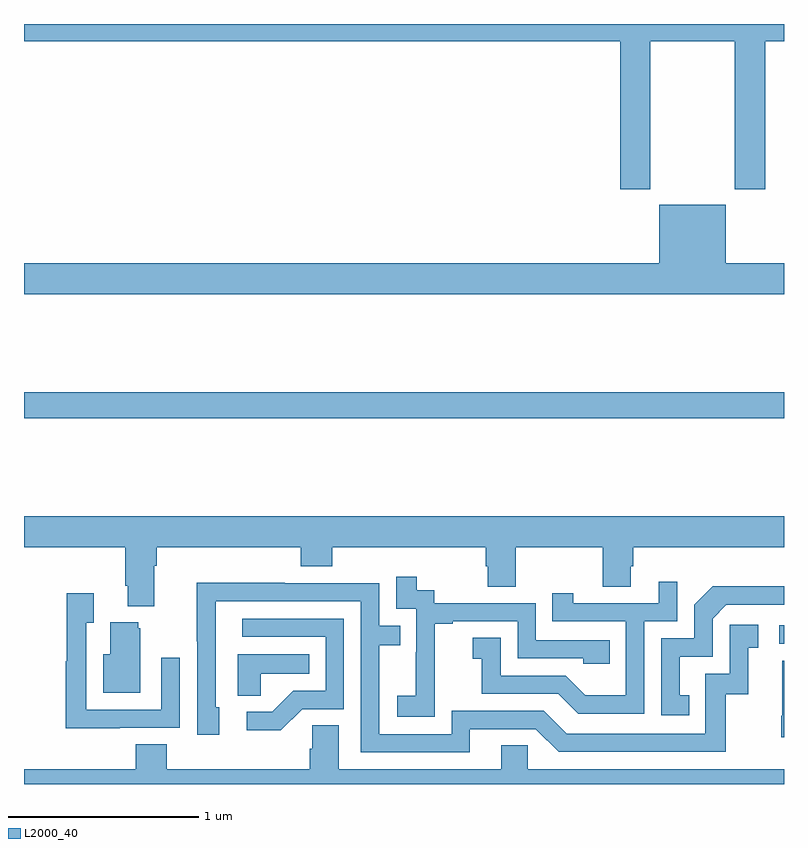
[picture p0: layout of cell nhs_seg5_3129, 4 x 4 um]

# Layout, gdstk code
import gdstk
lib = gdstk.Library(unit=1e-6, precision=1e-09)
def R(c, l, rs):  # rectangles x0, y0, x1, y1
    for r in rs: c.add(gdstk.rectangle(r[:2], r[2:], *l))
def P(c, l, *ps):  # polygons
    for p in ps: c.add(gdstk.Polygon(p, *l))
L2000_40 = (2000, 40)

nhs_seg5_3129 = lib.new_cell('nhs_seg5_3129')
R(nhs_seg5_3129, L2000_40, [(294.975,905.538,295,905.634), (291,906.724,295,906.86)])
P(nhs_seg5_3129, L2000_40, [(294.297,908.708),(294.742,908.708),(294.742,907.929),(294.902,907.929),(294.902,908.708),(295,908.708),(295,908.799),(291,908.799),(291,908.708),(294.137,908.708),(294.137,907.929),(294.297,907.929)],
  [(295,907.54),(294.694,907.54),(294.694,907.849),(294.344,907.849),(294.344,907.54),(291,907.54),(291,907.376),(295,907.376)],
  [(291,906.044),(291.533,906.044),(291.533,905.842),(291.545,905.842),(291.545,905.735),(291.685,905.735),(291.685,905.948),(291.698,905.948),(291.698,906.044),(292.457,906.044),(292.457,905.945),(292.622,905.945),(292.622,906.044),(293.429,906.044),(293.429,905.946),(293.441,905.946),(293.441,905.836),(293.589,905.836),(293.589,906.044),(294.046,906.044),(294.046,905.836),(294.193,905.836),(294.193,905.946),(294.206,905.946),(294.206,906.044),(295,906.044),(295,906.208),(291,906.208)],
  [(293.163,905.359),(293.162,905.359),(293.162,905.643),(293.257,905.643),(293.257,905.655),(293.598,905.655),(293.598,905.46),(293.943,905.46),(293.943,905.433),(294.083,905.433),(294.083,905.556),(293.694,905.556),(293.694,905.751),(293.16,905.751),(293.16,905.82),(293.068,905.82),(293.068,905.89),(292.959,905.89),(292.959,905.721),(293.064,905.721),(293.064,905.492),(293.063,905.492),(293.063,905.263),(292.965,905.263),(292.965,905.153),(293.163,905.153)],
  [(294.264,905.655),(294.438,905.655),(294.438,905.863),(294.341,905.863),(294.341,905.751),(293.89,905.751),(293.89,905.803),(293.779,905.803),(293.779,905.655),(294.168,905.655),(294.168,905.266),(293.954,905.266),(293.85,905.37),(293.508,905.37),(293.508,905.569),(293.361,905.569),(293.361,905.459),(293.41,905.459),(293.41,905.274),(293.813,905.274),(293.918,905.169),(294.264,905.169)],
  [(293.347,905.088),(293.694,905.088),(293.814,904.968),(294.694,904.968),(294.694,905.271),(294.812,905.271),(294.812,905.517),(294.865,905.517),(294.865,905.638),(294.714,905.638),(294.714,905.379),(294.585,905.379),(294.585,905.064),(293.856,905.064),(293.736,905.184),(293.25,905.184),(293.25,905.061),(292.869,905.061),(292.869,905.53),(292.979,905.53),(292.979,905.631),(292.869,905.631),(292.869,905.856),(292.373,905.856),(292.373,905.858),(291.91,905.858),(291.91,905.551),(291.912,905.551),(291.912,905.058),(292.027,905.058),(292.027,905.202),(292.008,905.202),(292.008,905.76),(292.773,905.76),(292.773,904.965),(293.347,904.965)],
  [(294.5,905.265),(294.451,905.265),(294.451,905.469),(294.624,905.469),(294.624,905.67),(294.696,905.742),(295,905.742),(295,905.84),(294.626,905.84),(294.528,905.742),(294.528,905.565),(294.354,905.565),(294.354,905.16),(294.5,905.16)],
  [(291.503,905.094),(291.819,905.094),(291.819,905.464),(291.723,905.464),(291.723,905.19),(291.327,905.19),(291.327,905.647),(291.367,905.647),(291.367,905.803),(291.226,905.803),(291.226,905.444),(291.219,905.444),(291.219,905.093),(291.503,905.093)],
  [(292.464,905.193),(292.683,905.193),(292.683,905.67),(292.149,905.67),(292.149,905.574),(292.587,905.574),(292.587,905.289),(292.418,905.289),(292.307,905.178),(292.173,905.178),(292.173,905.081),(292.351,905.081)],
  [(291.613,905.619),(291.602,905.619),(291.602,905.65),(291.455,905.65),(291.455,905.482),(291.416,905.482),(291.416,905.279),(291.613,905.279)],
  [(292.245,905.378),(292.502,905.378),(292.502,905.482),(292.124,905.482),(292.124,905.263),(292.245,905.263)],
  [(295,905.449),(294.992,905.449),(294.992,905.158),(294.985,905.158),(294.985,905.046),(295,905.046)],
  [(295,904.876),(293.652,904.876),(293.652,905.003),(293.513,905.003),(293.513,904.876),(292.657,904.876),(292.657,905.108),(292.518,905.108),(292.518,904.985),(292.505,904.985),(292.505,904.876),(291.752,904.876),(291.752,905.009),(291.587,905.009),(291.587,904.876),(291,904.876),(291,904.799),(295,904.799)])

lib.write_gds('nhs_seg5_3129.gds')
